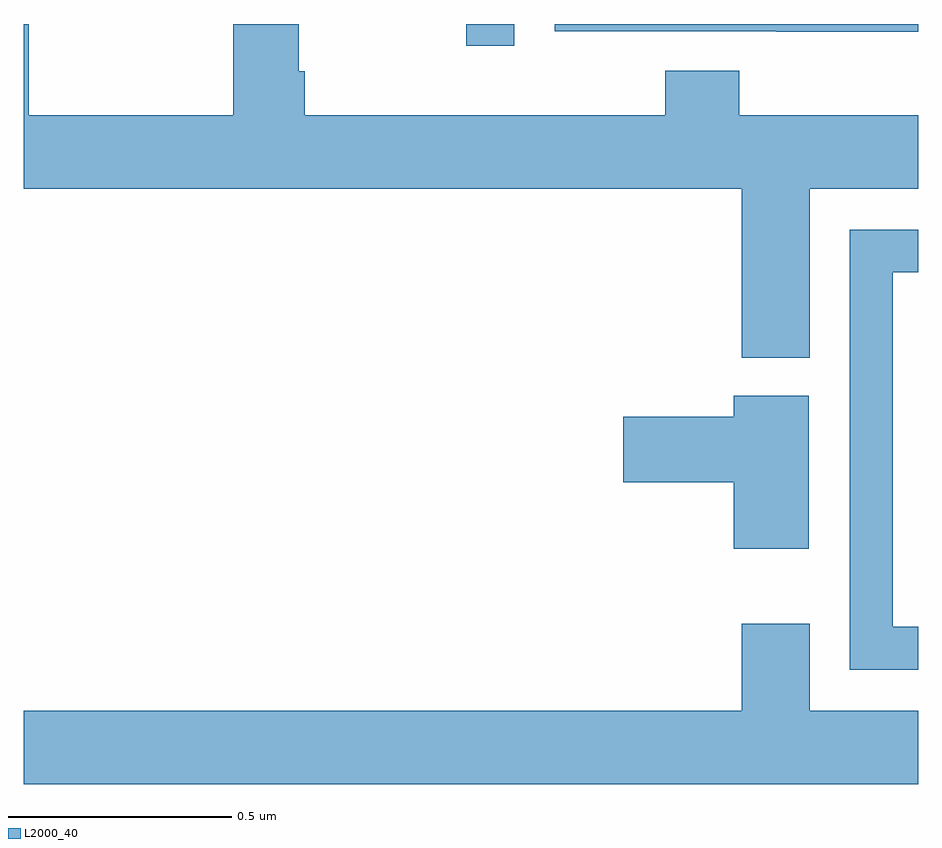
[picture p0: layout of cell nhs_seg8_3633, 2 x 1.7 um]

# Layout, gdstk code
import gdstk
lib = gdstk.Library(unit=1e-6, precision=1e-09)
def R(c, l, rs):  # rectangles x0, y0, x1, y1
    for r in rs: c.add(gdstk.rectangle(r[:2], r[2:], *l))
def P(c, l, *ps):  # polygons
    for p in ps: c.add(gdstk.Polygon(p, *l))
L2000_40 = (2000, 40)

nhs_seg8_3633 = lib.new_cell('nhs_seg8_3633')
R(nhs_seg8_3633, L2000_40, [(160.989,1084.851,161.097,1084.9)])
P(nhs_seg8_3633, L2000_40, [(162,1084.9),(161.187,1084.9),(161.187,1084.884),(161.683,1084.884),(161.683,1084.883),(162,1084.883)],
  [(161.6,1084.795),(161.435,1084.795),(161.435,1084.696),(160.628,1084.696),(160.628,1084.794),(160.615,1084.794),(160.615,1084.9),(160.468,1084.9),(160.468,1084.696),(160.011,1084.696),(160.011,1084.9),(160,1084.9),(160,1084.532),(161.606,1084.532),(161.606,1084.154),(161.758,1084.154),(161.758,1084.532),(162,1084.532),(162,1084.696),(161.6,1084.696)],
  [(162,1083.552),(161.943,1083.552),(161.943,1084.345),(162,1084.345),(162,1084.44),(161.847,1084.44),(161.847,1083.456),(162,1083.456)],
  [(161.755,1084.069),(161.588,1084.069),(161.588,1084.022),(161.34,1084.022),(161.34,1083.875),(161.588,1083.875),(161.588,1083.726),(161.755,1083.726)],
  [(162,1083.364),(161.758,1083.364),(161.758,1083.559),(161.606,1083.559),(161.606,1083.364),(160,1083.364),(160,1083.2),(162,1083.2)])

lib.write_gds('nhs_seg8_3633.gds')
